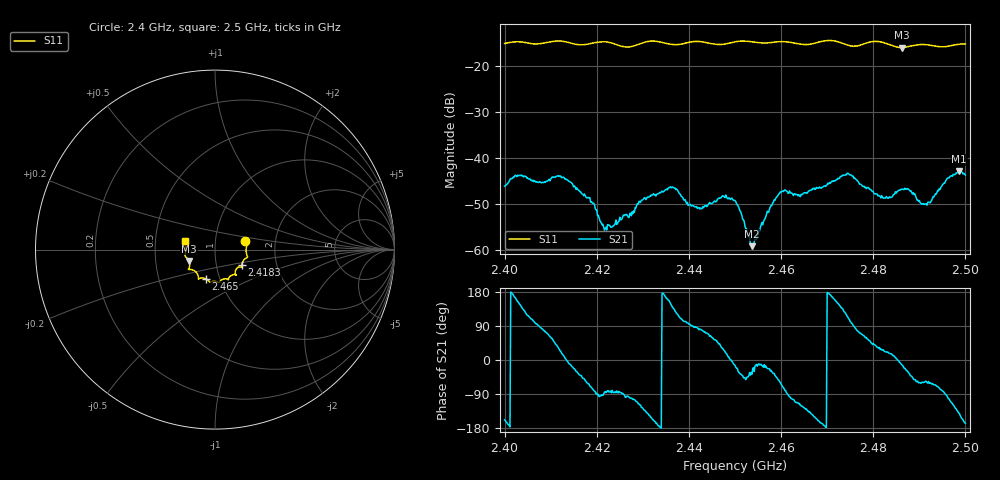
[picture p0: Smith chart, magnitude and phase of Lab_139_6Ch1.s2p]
# Hz S RI R 50
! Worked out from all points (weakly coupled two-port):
!   601 points, 2.4 GHz to 2.5 GHz, reference 50 ohm
!   highest |S21| = -42.84 dB at 2.4987 GHz (marker M1); lowest = -59.1 dB at 2.4537 GHz (marker M2)
!   lowest |S11| = -16.0 dB at 2.4862 GHz (marker M3), VSWR 1.38, Z = 37.1 - j4.81 ohm
!   |S11| at or under -10 dB: start of sweep to end of sweep
!   S12 and S22 are empty: the file has one direction only
!   S11 on the Smith chart (normalised r, x): 2.4 GHz: 1.40, +0.13; 2.4183 GHz: 1.33, -0.24; 2.465 GHz: 0.86, -0.29; 2.5 GHz: 0.71, +0.07
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2.4e9  0.1689 0.0457  -0.00459 -0.00187  0 0  0 0
2.402667e9  0.1795 0.0341  -0.0058 0.00246  0 0  0 0
2.408333e9  0.1751 -0.02  0.000933 0.00536  0 0  0 0
2.411667e9  0.1819 -0.0415  0.00548 0.00339  0 0  0 0
2.416667e9  0.1549 -0.068  0.00312 -0.00274  0 0  0 0
2.418333e9  0.1501 -0.0866  0.00164 -0.00332  0 0  0 0
2.422e9  0.1525 -0.0998  0.000127 -0.00178  0 0  0 0
2.433333e9  0.1169 -0.1412  -0.00408 -0.00047  0 0  0 0
2.4365e9  0.0946 -0.1419  -0.00361 0.00325  0 0  0 0
2.442333e9  0.0736 -0.1684  0.000398 0.00278  0 0  0 0
2.4475e9  0.0393 -0.1671  0.00342 0.00173  0 0  0 0
2.45e9  0.0252 -0.1807  0.00336 -0.00083  0 0  0 0
2.453667e9  0.0158 -0.1819  0.000875 -0.00068  0 0  0 0
2.459833e9  -0.0274 -0.1813  0.00215 -0.0037  0 0  0 0
2.465e9  -0.0528 -0.1622  -0.00247 -0.00339  0 0  0 0
2.466667e9  -0.0713 -0.1576  -0.00364 -0.00269  0 0  0 0
2.474667e9  -0.0991 -0.134  -0.00222 0.0064  0 0  0 0
2.483333e9  -0.1421 -0.0961  0.00349 0.00116  0 0  0 0
2.486167e9  -0.1447 -0.0632  0.00449 -0.000946  0 0  0 0
2.4915e9  -0.167 -0.0311  0.00176 -0.00266  0 0  0 0
2.498667e9  -0.1671 0.0403  -0.00561 -0.00454  0 0  0 0
2.5e9  -0.1665 0.0469  -0.00638 -0.00146  0 0  0 0
